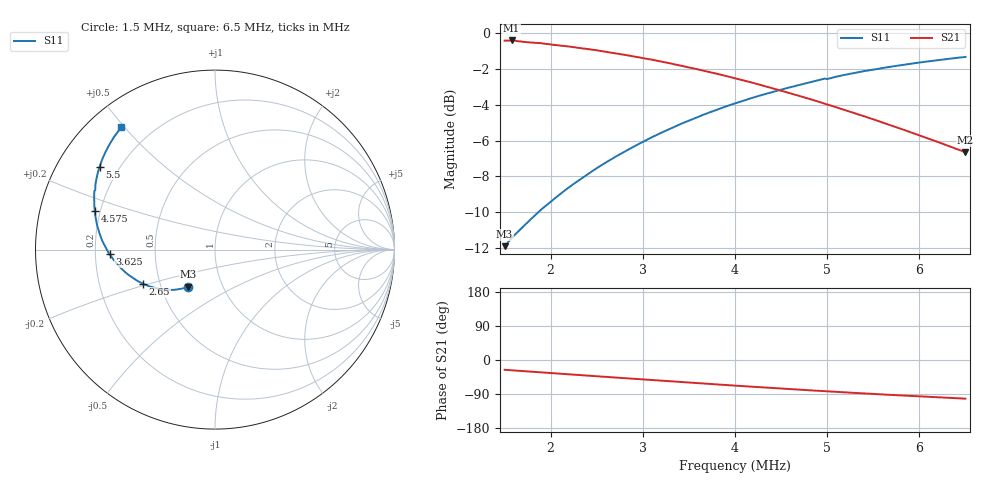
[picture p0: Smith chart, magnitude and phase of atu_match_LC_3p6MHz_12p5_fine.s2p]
! S11/S21 from S-A-A-2 VNA
! Written 2026-11-14 07:58:21 by the saav2 MCP server
! S12 and S22 were not measured (1.5-port VNA) and are written as 0
# HZ S RI R 50
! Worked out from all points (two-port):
!   201 points, 1.5 MHz to 6.5 MHz, reference 50 ohm
!   highest |S21| = -0.40 dB at 1.575 MHz (marker M1); lowest = -6.6 dB at 6.5 MHz (marker M2)
!   |S21| within 3 dB of the highest: start of sweep to 4.634 MHz
!   lowest |S11| = -11.9 dB at 1.5 MHz (marker M3), VSWR 1.68, Z = 34.4 - j15.2 ohm
!   |S11| at or under -10 dB: start of sweep to 1.865 MHz
!   S12 and S22 are empty: the file has one direction only
!   S11 on the Smith chart (normalised r, x): 1.5 MHz: 0.69, -0.30; 2.65 MHz: 0.40, -0.19; 3.625 MHz: 0.26, -0.02; 4.575 MHz: 0.18, +0.15; 5.5 MHz: 0.13, +0.32; 6.5 MHz: 0.09, +0.49
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1500000  -0.1481 -0.2067  0.8584 -0.4158  0 0  0 0
1575000  -0.1629 -0.2122  0.85 -0.4346  0 0  0 0
1850000  -0.2201 -0.2234  0.7988 -0.4948  0 0  0 0
1975000  -0.2477 -0.2248  0.7739 -0.52  0 0  0 0
2175000  -0.2927 -0.2223  0.7313 -0.558  0 0  0 0
2350000  -0.3328 -0.2141  0.6913 -0.5871  0 0  0 0
2650000  -0.4005 -0.1902  0.6197 -0.6294  0 0  0 0
2950000  -0.465 -0.153  0.5452 -0.6611  0 0  0 0
3175000  -0.5105 -0.1166  0.4882 -0.6787  0 0  0 0
3350000  -0.5425 -0.0846  0.4438 -0.6879  0 0  0 0
3625000  -0.5872 -0.0262  0.3749 -0.695  0 0  0 0
4000000  -0.6338 0.0635  0.2847 -0.6927  0 0  0 0
4275000  -0.6569 0.1352  0.2229 -0.6821  0 0  0 0
4575000  -0.6701 0.2159  0.1598 -0.6635  0 0  0 0
4850000  -0.6733 0.2911  0.1075 -0.6418  0 0  0 0
4975000  -0.6725 0.3254  0.0853 -0.6301  0 0  0 0
5000000  -0.6674 0.33  0.081 -0.6274  0 0  0 0
5175000  -0.6637 0.378  0.0522 -0.61  0 0  0 0
5500000  -0.643 0.462  0.00463 -0.575  0 0  0 0
5675000  -0.627 0.5049  -0.0178 -0.5547  0 0  0 0
6150000  -0.5724 0.6122  -0.0684 -0.4978  0 0  0 0
6500000  -0.5218 0.6817  -0.0966 -0.4552  0 0  0 0
